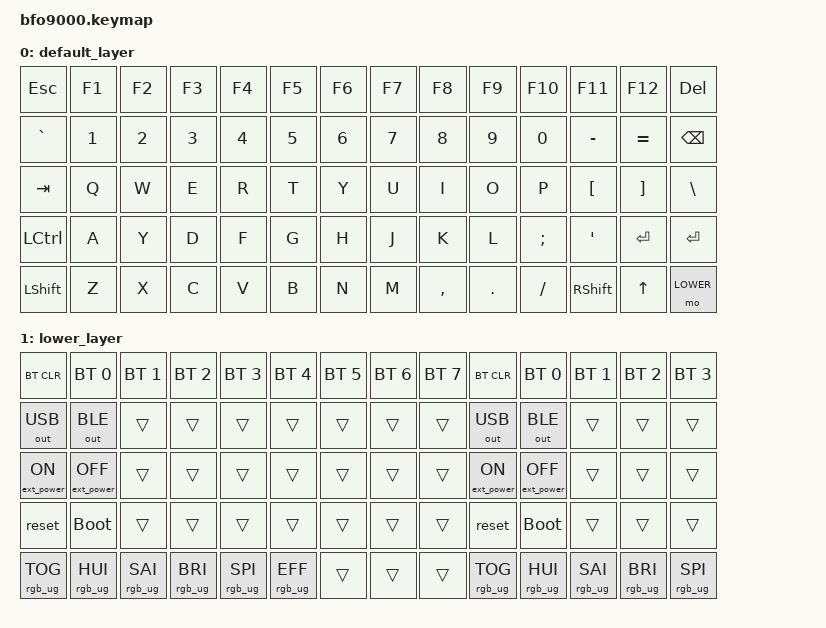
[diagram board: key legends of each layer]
/*
 * Copyright (c) 2020 The ZMK Contributors
 *
 * SPDX-License-Identifier: MIT
 */

#include <behaviors.dtsi>
#include <dt-bindings/zmk/keys.h>
#include <dt-bindings/zmk/bt.h>
#include <dt-bindings/zmk/outputs.h>
#include <dt-bindings/zmk/ext_power.h>
#include <dt-bindings/zmk/rgb.h>

#define DEFAULT 0
#define LOWER   1

// ----------------------------------------------------------------------------------------------------------------------------------
// |  g1  |  f1  |  e1  |  d1   |  c1   |  b1  | a1 | a1  |  b1  |  c1  |  d1   |  e1   |  f1  | g1 |                 
// |  g2  |  f2  |  e2  |  d2   |  c2   |  b2  | a2 | a2  |  b2  |  c2  |  d2   |  e2   |  f2  | g2 |        			  
// |  g3  |  f3  |  e3  |  d3   |  c4   |  b3  | a3 | a3  |  b3  |  c3  |  d3   |  e4   |  f3  | g3 |           	        
// |  g4  |  f4  |  e4  |  d4   |  c5   |  b4  | a4 | a4  |  b4  |  c4  |  d4   |  e5   |  f4  | g4 |       	      
// |  g5  |  f5  |  e5  |  d5   |  c6   |  b5  | a5 | a5  |  b5  |  c5  |  d5   |  e6   |  f5  | g5 |


/ {
	keymap {
		compatible = "zmk,keymap";

		default_layer {
			// | Esc   | F1   | F2  | F3  | F4  | F5  | F6    |  F7  | F8  | F9  | F10  | F11   | F12   | Del    |
			// | `     | 1    | 2   | 3   | 4   | 5   | 6     |  7   | 8   | 9   | 0    | -     | =     | Bk Spc |
			// | Tab   | Q    | W   | E   | R   | T   | Y     |  U   | I   | O   | P    | [     | ]     | \      |
			// | Ctrl  | A    | Y   | D   | F   | G   | H     |  J   | K   | L   | ;    | '     | Enter | Enter  |
			// | Shift | Z    | X   | C   | V   | B   | N     |  M   | ,   | .   | /    | Shift | Up    |        |
			
			bindings = <
			&kp ESC   &kp F1    &kp F2   &kp F3    &kp F4    &kp F5    &kp F6    &kp F7    &kp F8    &kp F9   &kp F10   &kp F11   &kp F12   &kp DEL
			&kp GRAVE &kp N1    &kp N2   &kp N3    &kp N4    &kp N5    &kp N6    &kp N7    &kp N8    &kp N9   &kp N0    &kp MINUS &kp EQUAL &kp BSPC
			&kp TAB   &kp Q     &kp W    &kp E     &kp R     &kp T     &kp Y     &kp U     &kp I     &kp O    &kp P     &kp LBKT  &kp RBKT  &kp BSLH
			&kp LCTRL &kp A     &kp Y    &kp D     &kp F     &kp G     &kp H     &kp J     &kp K     &kp L    &kp SEMI  &kp APOS  &kp ENTER &kp ENTER
			&kp LSHFT &kp Z     &kp X    &kp C     &kp V     &kp B     &kp N     &kp M     &kp COMMA &kp DOT  &kp SLASH &kp RSHFT &kp UP    &mo LOWER
			>;
		};

		lower_layer {
			// |1 |2 | 3| 4| 5| 6| 7| 8|9 |10 |11 |12 |13 |14 | 
			// | | | | | | | | | | | | | | | 
			// | | | | | | | | | | | | | | | 
			// | | | | | | | | | | | | | | | 
			// | | | | | | | | | | | | | | | 

			bindings = <
			&bt BT_CLR       &bt BT_SEL 0      &bt BT_SEL 1    &bt BT_SEL 2    &bt BT_SEL 3    &bt BT_SEL 4    &bt BT_SEL 5 &bt BT_SEL 6 &bt BT_SEL 7 &bt BT_CLR       &bt BT_SEL 0      &bt BT_SEL 1    &bt BT_SEL 2    &bt BT_SEL 3    
			&out OUT_USB     &out OUT_BLE      &trans          &trans          &trans          &trans          &trans       &trans       &trans       &out OUT_USB     &out OUT_BLE      &trans          &trans          &trans          
			&ext_power EP_ON &ext_power EP_OFF &trans          &trans          &trans          &trans          &trans       &trans       &trans       &ext_power EP_ON &ext_power EP_OFF &trans          &trans          &trans          
			&reset           &bootloader       &trans          &trans          &trans          &trans          &trans       &trans       &trans       &reset           &bootloader       &trans          &trans          &trans          
			&rgb_ug RGB_TOG  &rgb_ug RGB_HUI   &rgb_ug RGB_SAI &rgb_ug RGB_BRI &rgb_ug RGB_SPI &rgb_ug RGB_EFF &trans       &trans       &trans       &rgb_ug RGB_TOG  &rgb_ug RGB_HUI   &rgb_ug RGB_SAI &rgb_ug RGB_BRI &rgb_ug RGB_SPI 
			>;
		};
	};
};
